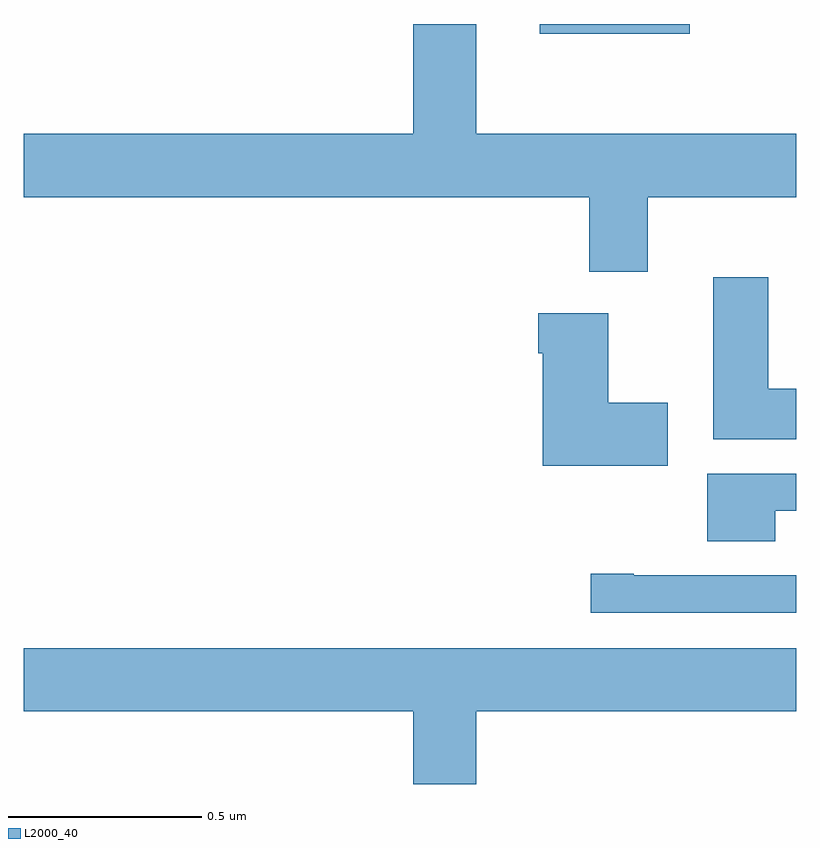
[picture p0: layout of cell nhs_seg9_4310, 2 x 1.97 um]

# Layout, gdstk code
import gdstk
lib = gdstk.Library(unit=1e-6, precision=1e-09)
def R(c, l, rs):  # rectangles x0, y0, x1, y1
    for r in rs: c.add(gdstk.rectangle(r[:2], r[2:], *l))
def P(c, l, *ps):  # polygons
    for p in ps: c.add(gdstk.Polygon(p, *l))
L2000_40 = (2000, 40)

nhs_seg9_4310 = lib.new_cell('nhs_seg9_4310')
R(nhs_seg9_4310, L2000_40, [(165.336,1231.475,165.724,1231.5)])
P(nhs_seg9_4310, L2000_40, [(165.616,1231.052),(166,1231.052),(166,1231.216),(165.172,1231.216),(165.172,1231.5),(165.008,1231.5),(165.008,1231.216),(164,1231.216),(164,1231.052),(165.464,1231.052),(165.464,1230.858),(165.616,1230.858)],
  [(166,1230.556),(165.928,1230.556),(165.928,1230.844),(165.785,1230.844),(165.785,1230.425),(166,1230.425)],
  [(165.667,1230.519),(165.514,1230.519),(165.514,1230.751),(165.332,1230.751),(165.332,1230.647),(165.344,1230.647),(165.344,1230.356),(165.667,1230.356)],
  [(165.946,1230.24),(166,1230.24),(166,1230.336),(165.77,1230.336),(165.77,1230.161),(165.946,1230.161)],
  [(166,1230.072),(165.58,1230.072),(165.58,1230.077),(165.468,1230.077),(165.468,1229.976),(166,1229.976)],
  [(165.172,1229.72),(166,1229.72),(166,1229.884),(164,1229.884),(164,1229.72),(165.008,1229.72),(165.008,1229.532),(165.172,1229.532)])

lib.write_gds('nhs_seg9_4310.gds')
